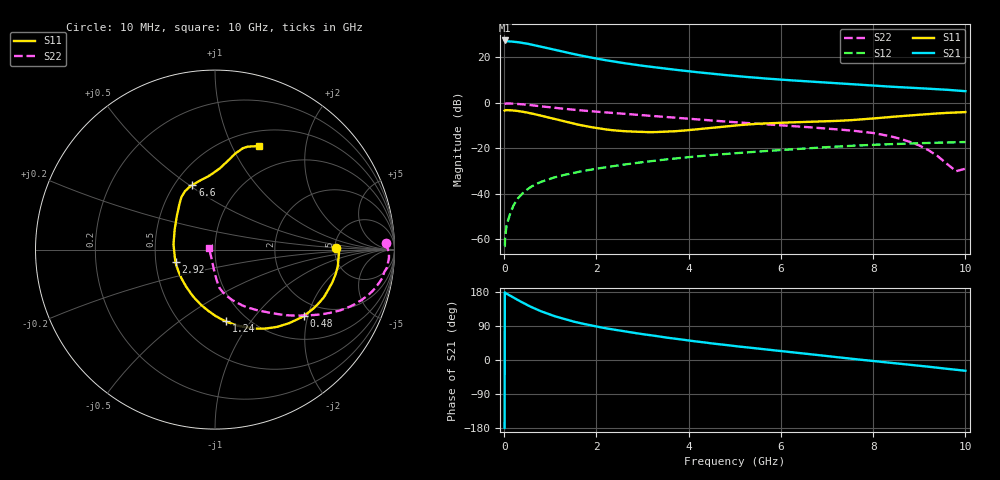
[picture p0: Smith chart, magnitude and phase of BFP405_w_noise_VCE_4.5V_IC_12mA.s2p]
! Infineon Technologies  Discrete & RF Semiconductors
! BFP405
! VCE =  4.5 V,  IC =  12 mA
! Common Emitter S-Parameters:  Jan 2016
# GHz  S  MA  R  50
!  f  S11  S21  S12  S22
! GHz  MAG  ANG  MAG  ANG  MAG  ANG  MAG  ANG
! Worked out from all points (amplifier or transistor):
!   233 points, 10 MHz to 10 GHz, reference 50 ohm
!   highest |S21| = 27.5 dB at 10 MHz (marker M1)
!   |S21| within 3 dB of that: start of sweep to 862.5 MHz
!   unconditionally stable (mu >= 1): start of sweep to 34.47 MHz; 2.47 GHz to end of sweep
!   at 200 MHz: K = 0.33, MSG = 36.1 dB, |S12| = -45.4 dB
!   at 1.74 GHz: K = 0.82, MSG = 25.2 dB, |S12| = -29.9 dB
!   at 10 GHz: K = 1.35, MAG = 7.7 dB, |S12| = -17.2 dB
!   lowest NFmin = 1.77 dB at 900 MHz
!   S11 on the Smith chart (normalised r, x): 10 MHz: 5.17, +0.20; 480 MHz: 1.59, -1.89; 1.24 GHz: 0.80, -0.77; 2.92 GHz: 0.63, -0.09; 6.6 GHz: 0.61, +0.52; 10 GHz: 0.67, +1.28
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0.01  0.6765 0.9  23.66 -179.3  0.0007 -27.1  0.9536 2.3
0.02  0.692 -0.8  23.25 176.6  0.001 40.7  0.9602 0.5
0.05  0.6891 -3.7  22.79 175.4  0.0019 60.5  0.9691 -0.8
0.24  0.6709 -18.9  22.07 162.1  0.0064 74.1  0.952 -7.5
0.4  0.6391 -30.9  20.96 151.4  0.0102 72.6  0.929 -12.0
0.48  0.6175 -36.6  20.28 146.4  0.012 71.1  0.9131 -14.1
0.6  0.5818 -44.8  19.17 139.2  0.0145 69.1  0.8866 -16.9
0.8  0.5226 -57.3  17.33 128.6  0.0182 66.1  0.841 -20.9
1  0.465 -68.5  15.54 119.5  0.0214 63.9  0.798 -24.2
1.24  0.4046 -81.2  13.66 110.3  0.025 61.9  0.7512 -27.5
1.48  0.3546 -93.3  12.06 102.2  0.0283 60.4  0.7104 -30.2
1.68  0.321 -103.0  10.94 96.5  0.0311 59.4  0.6809 -32.1
1.92  0.2882 -114.9  9.794 90.2  0.0344 58.4  0.6493 -34.3
2.2  0.2606 -128.5  8.703 83.8  0.0381 57.2  0.6166 -36.5
2.92  0.2303 -162.4  6.735 69.7  0.0483 53.7  0.5441 -42.2
3.4  0.2299 176.7  5.837 61.4  0.0552 50.8  0.4989 -46.0
4  0.2513 153.4  4.958 51.3  0.0639 47.0  0.4466 -51.0
5.1  0.3233 127.7  3.84 35.4  0.0792 39.1  0.3695 -60.6
6.6  0.3819 109.2  2.961 15.7  0.1001 28.4  0.2914 -71.9
6.8  0.3868 105.7  2.868 13.1  0.103 26.7  0.2813 -73.3
8.4  0.4913 82.5  2.268 -7.6  0.1235 12.6  0.1811 -86.0
10  0.6267 67.1  1.808 -28.4  0.1374 -0.4  0.0356 162.3
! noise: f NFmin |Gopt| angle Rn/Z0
0.9  1.77  0.15  3  0.32
1.8  2.01  0.1  -12  0.29
2.4  2.13  0.09  -14  0.31
3  2.17  0.05  -9  0.29
4  2.32  0.08  -88  0.29
5  2.7  0.15  -96  0.31
